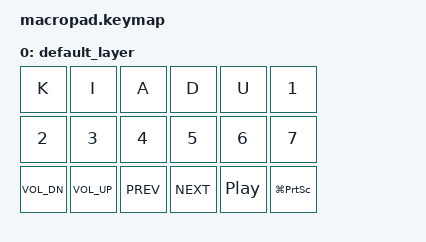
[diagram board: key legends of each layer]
#include <behaviors.dtsi>
#include <dt-bindings/zmk/keys.h>
#include <dt-bindings/zmk/bt.h>

/ {
    combos {
        compatible = "zmk,combos";

        // Одновременное нажатие кнопок 17 (Пауза) и 18 (Скриншот) -> Сброс Bluetooth
        combo_bt_clr {
            timeout-ms = <100>;
            key-positions = <16 17>;
            bindings = <&bt BT_CLR>;
        };
    };

    keymap {
        compatible = "zmk,keymap";

        default_layer {
            bindings = <
                &kp K        &kp I        &kp A       &kp D        &kp U        &kp N1
                &kp N2       &kp N3       &kp N4      &kp N5       &kp N6       &kp N7
                &kp C_VOL_DN &kp C_VOL_UP &kp C_PREV  &kp C_NEXT   &kp C_PP     &kp LG(PSCRN)
            >;
        };
    };
};
